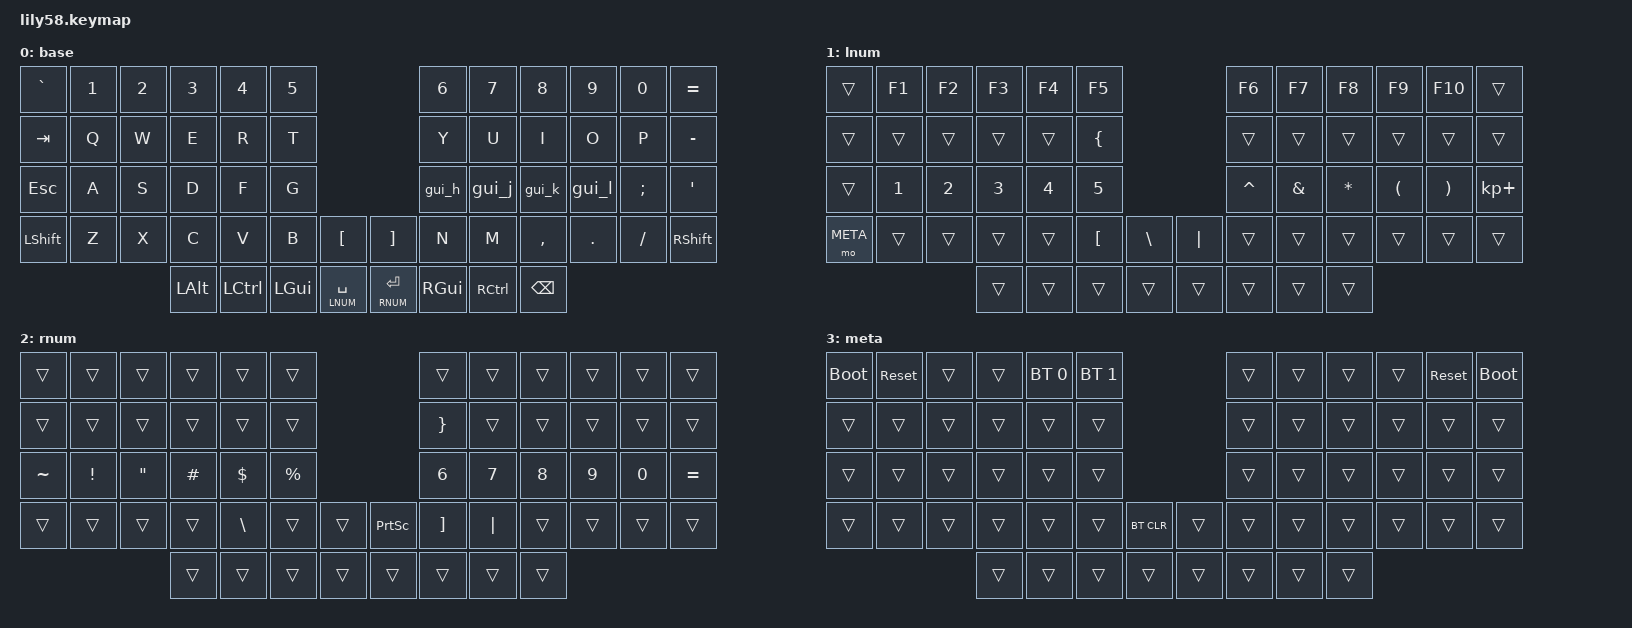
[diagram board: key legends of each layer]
#include <behaviors.dtsi>
#include <dt-bindings/zmk/bt.h>
#include <dt-bindings/zmk/keys.h>

#define BASE  0
#define LNUM  1
#define RNUM  2
#define META  3

#define GUI_ARROW(name, key, arrow) \
    name: name { \
        compatible = "zmk,behavior-mod-morph"; \
        #binding-cells = <0>; \
        bindings = <&kp key>, <&kp arrow>; \
        mods = <(MOD_LGUI|MOD_RGUI)>; \
    };

/ {
    behaviors {
        GUI_ARROW(gui_h, H, LEFT)
        GUI_ARROW(gui_j, J, DOWN)
        GUI_ARROW(gui_k, K, UP)
        GUI_ARROW(gui_l, L, RIGHT)
};

keymap {
    compatible = "zmk,keymap";

    base {
        display-name = "base";
        bindings = <
&kp GRAVE  &kp N1 &kp N2 &kp N3    &kp N4     &kp N5                                    &kp N6    &kp N7     &kp N8     &kp N9    &kp N0    &kp EQUAL
&kp TAB    &kp Q  &kp W  &kp E     &kp R      &kp T                                     &kp Y     &kp U      &kp I      &kp O     &kp P     &kp MINUS
&kp ESC    &kp A  &kp S  &kp D     &kp F      &kp G                                     &gui_h    &gui_j     &gui_k     &gui_l    &kp SEMI  &kp SQT
&kp LSHFT  &kp Z  &kp X  &kp C     &kp V      &kp B     &kp LBKT        &kp RBKT        &kp N     &kp M      &kp COMMA  &kp DOT   &kp FSLH  &kp RSHFT
                         &kp LALT  &kp LCTRL  &kp LGUI  &lt LNUM SPACE  &lt RNUM ENTER  &kp RGUI  &kp RCTRL  &kp BSPC
        >;
    };

    lnum {
        display-name = "lnum";
        bindings = <
&trans      &kp F1  &kp F2  &kp F3  &kp F4  &kp F5                        &kp F6     &kp F7    &kp F8    &kp F9    &kp F10   &trans
&trans      &trans  &trans  &trans  &trans  &kp LBRC                      &trans     &trans    &trans    &trans    &trans    &trans
&trans      &kp N1  &kp N2  &kp N3  &kp N4  &kp N5                        &kp CARET  &kp AMPS  &kp STAR  &kp LPAR  &kp RPAR  &kp KP_PLUS
&mo META    &trans  &trans  &trans  &trans  &kp LBKT  &kp BSLH  &kp PIPE  &trans     &trans    &trans    &trans    &trans    &trans
                                    &trans  &trans    &trans    &trans    &trans     &trans    &trans    &trans
            >;
        };

        rnum {
            display-name = "rnum";
            bindings = <
&trans     &trans    &trans  &trans     &trans    &trans                        &trans     &trans    &trans  &trans  &trans   &trans
&trans     &trans    &trans  &trans     &trans    &trans                        &kp RBRC   &trans    &trans  &trans  &trans   &trans
&kp TILDE  &kp EXCL  &kp DQT &kp POUND  &kp DLLR  &kp PRCNT                     &kp N6     &kp N7    &kp N8  &kp N9  &kp N0   &kp EQUAL
&trans     &trans    &trans  &trans     &kp BSLH  &trans     &trans  &kp PSCRN  &kp RBKT   &kp PIPE  &trans  &trans  &trans   &trans
                             &trans     &trans    &trans     &trans  &trans     &trans     &trans    &trans
            >;
        };

        meta {
            display-name = "meta";
            bindings = <
&bootloader  &sys_reset  &trans  &trans  &bt BT_SEL 0  &bt BT_SEL 1                       &trans  &trans  &trans  &trans  &sys_reset  &bootloader
&trans       &trans      &trans  &trans  &trans        &trans                             &trans  &trans  &trans  &trans  &trans      &trans
&trans       &trans      &trans  &trans  &trans        &trans                             &trans  &trans  &trans  &trans  &trans      &trans
&trans       &trans      &trans  &trans  &trans        &trans        &bt BT_CLR  &trans   &trans  &trans  &trans  &trans  &trans      &trans
                                 &trans  &trans        &trans        &trans      &trans   &trans  &trans  &trans
            >;
        };
    };
};
